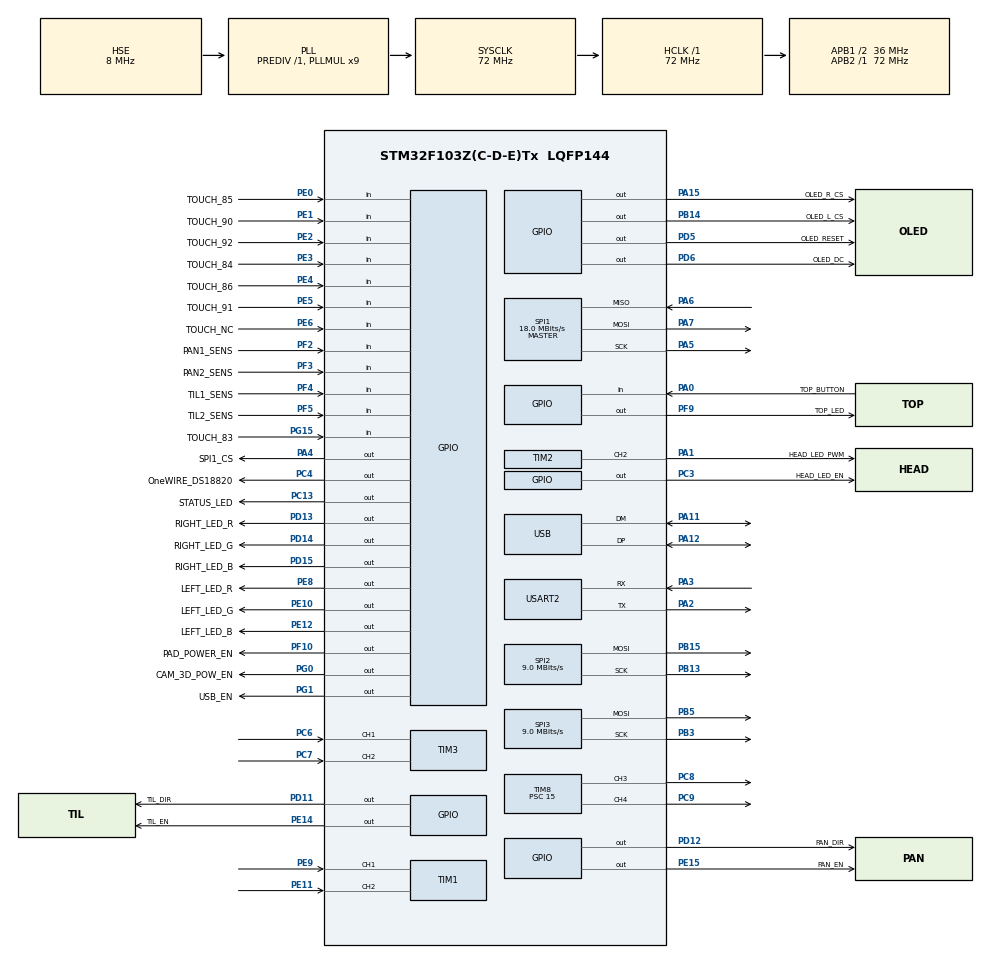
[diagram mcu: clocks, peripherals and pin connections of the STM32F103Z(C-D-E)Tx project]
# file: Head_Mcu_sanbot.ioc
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Mcu.Family=STM32F1
Mcu.Name=STM32F103Z(C-D-E)Tx
Mcu.Package=LQFP144
NVIC.PriorityGroup=NVIC_PRIORITYGROUP_4
NVIC.USB_HP_CAN1_TX_IRQn=true\:0\:0\:false\:false\:true\:true\:true\:true
NVIC.USB_LP_CAN1_RX0_IRQn=true\:0\:0\:false\:false\:true\:false\:true\:true
OSC_IN.Mode=HSE-External-Oscillator
OSC_IN.Signal=RCC_OSC_IN
OSC_OUT.Mode=HSE-External-Oscillator
OSC_OUT.Signal=RCC_OSC_OUT
PA0-WKUP.GPIO_Label=TOP_BUTTON
PA0-WKUP.GPIO_PuPd=GPIO_PULLUP
PA0-WKUP.Signal=GPIO_Input
PA1.GPIO_Label=HEAD_LED_PWM
PA1.Signal=S_TIM2_CH2
PA11.Mode=Device
PA11.Signal=USB_DM
PA12.Mode=Device
PA12.Signal=USB_DP
PA13.Mode=Serial_Wire
PA13.Signal=SYS_JTMS-SWDIO
PA14.Mode=Serial_Wire
PA14.Signal=SYS_JTCK-SWCLK
PA15.GPIO_Label=OLED_R_CS
PA15.PinState=GPIO_PIN_SET
PA15.Signal=GPIO_Output
PA2.Mode=Asynchronous
PA2.Signal=USART2_TX
PA3.Mode=Asynchronous
PA3.Signal=USART2_RX
PA4.GPIO_Label=SPI1_CS
PA4.Signal=GPIO_Output
PA5.Mode=Full_Duplex_Master
PA5.Signal=SPI1_SCK
PA6.Mode=Full_Duplex_Master
PA6.Signal=SPI1_MISO
PA7.Mode=Full_Duplex_Master
PA7.Signal=SPI1_MOSI
PB13.GPIO_Speed=GPIO_SPEED_FREQ_HIGH
PB13.Mode=TX_Only_Simplex_Unidirect_Master
PB13.Signal=SPI2_SCK
PB14.GPIO_Label=OLED_L_CS
PB14.PinState=GPIO_PIN_SET
PB14.Signal=GPIO_Output
PB15.Mode=TX_Only_Simplex_Unidirect_Master
PB15.Signal=SPI2_MOSI
PB3.Mode=TX_Only_Simplex_Unidirect_Master
PB3.Signal=SPI3_SCK
PB5.Mode=TX_Only_Simplex_Unidirect_Master
PB5.Signal=SPI3_MOSI
PC13-TAMPER-RTC.GPIO_Label=STATUS_LED
PC13-TAMPER-RTC.Signal=GPIO_Output
PC3.GPIO_Label=HEAD_LED_EN
PC3.PinState=GPIO_PIN_SET
PC3.Signal=GPIO_Output
PC4.GPIO_Label=OneWIRE_DS18820
PC4.Signal=GPIO_Output
PC6.Signal=S_TIM3_CH1
PC7.Signal=S_TIM3_CH2
PC8.Signal=S_TIM8_CH3
PC9.Signal=S_TIM8_CH4
PD11.GPIO_Label=TIL_DIR
PD11.Signal=GPIO_Output
PD12.GPIO_Label=PAN_DIR
PD12.Signal=GPIO_Output
PD13.GPIO_Label=RIGHT_LED_R
PD13.Signal=GPIO_Output
PD14.GPIO_Label=RIGHT_LED_G
PD14.Signal=GPIO_Output
PD15.GPIO_Label=RIGHT_LED_B
PD15.Signal=GPIO_Output
PD5.GPIO_Label=OLED_RESET
PD5.PinState=GPIO_PIN_SET
PD5.Signal=GPIO_Output
PD6.GPIO_Label=OLED_DC
PD6.PinState=GPIO_PIN_SET
PD6.Signal=GPIO_Output
PE0.GPIO_Label=TOUCH_85
PE0.Signal=GPIO_Input
PE1.GPIO_Label=TOUCH_90
PE1.Signal=GPIO_Input
PE10.GPIO_Label=LEFT_LED_G
PE10.Signal=GPIO_Output
PE11.Signal=S_TIM1_CH2
PE12.GPIO_Label=LEFT_LED_B
PE12.Signal=GPIO_Output
PE14.GPIO_Label=TIL_EN
PE14.Signal=GPIO_Output
PE15.GPIO_Label=PAN_EN
PE15.Signal=GPIO_Output
PE2.GPIO_Label=TOUCH_92
PE2.Signal=GPIO_Input
PE3.GPIO_Label=TOUCH_84
PE3.Signal=GPIO_Input
PE4.GPIO_Label=TOUCH_86
PE4.Signal=GPIO_Input
PE5.GPIO_Label=TOUCH_91
PE5.Signal=GPIO_Input
PE6.GPIO_Label=TOUCH_NC
PE6.Signal=GPIO_Input
PE8.GPIO_Label=LEFT_LED_R
PE8.Signal=GPIO_Output
PE9.Signal=S_TIM1_CH1
PF10.GPIO_Label=PAD_POWER_EN
PF10.Signal=GPIO_Output
PF2.GPIO_Label=PAN1_SENS
PF2.GPIO_PuPd=GPIO_PULLUP
PF2.Signal=GPIO_Input
PF3.GPIO_Label=PAN2_SENS
PF3.Signal=GPIO_Input
PF4.GPIO_Label=TIL1_SENS
PF4.Signal=GPIO_Input
PF5.GPIO_Label=TIL2_SENS
PF5.Signal=GPIO_Input
PF9.GPIO_Label=TOP_LED
PF9.Signal=GPIO_Output
PG0.GPIO_Label=CAM_3D_POW_EN
PG0.Signal=GPIO_Output
PG1.GPIO_Label=USB_EN
PG1.Signal=GPIO_Output
PG15.GPIO_Label=TOUCH_83
PG15.Signal=GPIO_Input
ProjectManager.HeapSize=0x200
ProjectManager.StackSize=0x400
ProjectManager.TargetToolchain=STM32CubeIDE
RCC.AHBFreq_Value=72000000
RCC.APB1CLKDivider=RCC_HCLK_DIV2
RCC.APB1Freq_Value=36000000
RCC.APB1TimFreq_Value=72000000
RCC.APB2Freq_Value=72000000
RCC.APB2TimFreq_Value=72000000
RCC.HCLKFreq_Value=72000000
RCC.PLLMUL=RCC_PLL_MUL9
RCC.PLLSourceVirtual=RCC_PLLSOURCE_HSE
RCC.SYSCLKFreq_VALUE=72000000
RCC.SYSCLKSource=RCC_SYSCLKSOURCE_PLLCLK
RCC.USBFreq_Value=48000000
RCC.USBPrescaler=RCC_USBCLKSOURCE_PLL_DIV1_5
SH.S_TIM1_CH1.0=TIM1_CH1,Encoder_Interface
SH.S_TIM1_CH2.0=TIM1_CH2,Encoder_Interface
SH.S_TIM2_CH2.0=TIM2_CH2,PWM Generation2 CH2
SH.S_TIM3_CH1.0=TIM3_CH1,Encoder_Interface
SH.S_TIM3_CH2.0=TIM3_CH2,Encoder_Interface
SH.S_TIM8_CH3.0=TIM8_CH3,PWM Generation3 CH3
SH.S_TIM8_CH4.0=TIM8_CH4,PWM Generation4 CH4
SPI1.BaudRatePrescaler=SPI_BAUDRATEPRESCALER_4
SPI1.CalculateBaudRate=18.0 MBits/s
SPI1.Direction=SPI_DIRECTION_2LINES
SPI1.Mode=SPI_MODE_MASTER
SPI1.VirtualType=VM_MASTER
SPI2.BaudRatePrescaler=SPI_BAUDRATEPRESCALER_4
SPI2.CLKPhase=SPI_PHASE_1EDGE
SPI2.CLKPolarity=SPI_POLARITY_LOW
SPI2.CalculateBaudRate=9.0 MBits/s
SPI2.Direction=SPI_DIRECTION_2LINES
SPI2.FirstBit=SPI_FIRSTBIT_MSB
SPI2.Mode=SPI_MODE_MASTER
SPI2.VirtualType=VM_MASTER
SPI3.BaudRatePrescaler=SPI_BAUDRATEPRESCALER_4
SPI3.CalculateBaudRate=9.0 MBits/s
SPI3.Direction=SPI_DIRECTION_2LINES
SPI3.Mode=SPI_MODE_MASTER
SPI3.VirtualType=VM_MASTER
TIM1.EncoderMode=TIM_ENCODERMODE_TI12
TIM2.AutoReloadPreload=TIM_AUTORELOAD_PRELOAD_ENABLE
TIM2.Channel-PWM\ Generation2\ CH2=TIM_CHANNEL_2
TIM2.Period=100
TIM2.Prescaler=15
TIM3.EncoderMode=TIM_ENCODERMODE_TI12
TIM8.AutoReloadPreload=TIM_AUTORELOAD_PRELOAD_ENABLE
TIM8.Channel-PWM\ Generation3\ CH3=TIM_CHANNEL_3
TIM8.Channel-PWM\ Generation4\ CH4=TIM_CHANNEL_4
TIM8.Period=100
TIM8.Prescaler=15
USART2.VirtualMode=VM_ASYNC
USB_DEVICE.CLASS_NAME_FS=CDC
USB_DEVICE.MANUFACTURER_STRING=SaraHead
USB_DEVICE.USBD_SELF_POWERED=1
USB_DEVICE.VirtualMode=Cdc
USB_DEVICE.VirtualModeFS=Cdc_FS
VP_USB_DEVICE_VS_USB_DEVICE_CDC_FS.Mode=CDC_FS
board=custom

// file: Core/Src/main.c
/* USER CODE BEGIN Header */
/**
  ******************************************************************************
  * @file           : main.c
  * @brief          : Main program body
  ******************************************************************************
  * @attention
  *
  * Copyright (c) 2024 STMicroelectronics.
  * All rights reserved.
  *
  * This software is licensed under terms that can be found in the LICENSE file
  * in the root directory of this software component.
  * If no LICENSE file comes with this software, it is provided AS-IS.
  *
  ******************************************************************************
  */
/* USER CODE END Header */
#include "main.h"
#include "usb_device.h"

/* USER CODE BEGIN Includes */
#include "usbd_cdc_if.h"
#include "string.h"
#include <stdio.h>
#include "SSD1305_eyes.h"

/* USER CODE END Includes */

SPI_HandleTypeDef hspi1;
SPI_HandleTypeDef hspi2;
SPI_HandleTypeDef hspi3;

TIM_HandleTypeDef htim1;
TIM_HandleTypeDef htim2;
TIM_HandleTypeDef htim3;
TIM_HandleTypeDef htim8;

UART_HandleTypeDef huart2;

/* USER CODE BEGIN PV */

uint8_t displayBuffer[128*8];
uint32_t p = 0;

void getdata(uint8_t * rxBuffer, uint32_t size)
{
	HAL_GPIO_TogglePin(STATUS_LED_GPIO_Port, STATUS_LED_Pin);
//	if(size > 1024+2)
//	{
//		size = 1024+2;
//	}
//	uint8_t data0 = rxBuffer[0];
//	uint8_t data1 = rxBuffer[1];
//	uint8_t data2 = rxBuffer[2];

	  if(rxBuffer[0] == 0xaa)
	  {
		  p = rxBuffer[1] * 32;
		  memcpy(&displayBuffer[p], &rxBuffer[2], size-2);
	  }
	  HAL_GPIO_TogglePin(STATUS_LED_GPIO_Port, STATUS_LED_Pin);
}

/* USER CODE END PV */

void SystemClock_Config(void);
static void MX_GPIO_Init(void);
static void MX_SPI2_Init(void);
static void MX_SPI3_Init(void);
static void MX_SPI1_Init(void);
static void MX_USART2_UART_Init(void);
static void MX_TIM1_Init(void);
static void MX_TIM2_Init(void);
static void MX_TIM3_Init(void);
static void MX_TIM8_Init(void);

/* USER CODE BEGIN 0 */

void setPanMotor(int8_t setSpeed)
{
	HAL_GPIO_WritePin(PAN_DIR_GPIO_Port, PAN_DIR_Pin, setSpeed<0); // PAN
	TIM8->CCR4 = 100 - abs(setSpeed); // PAN
}

void setTilMotor(int8_t setSpeed)
{
	HAL_GPIO_WritePin(TIL_DIR_GPIO_Port, TIL_DIR_Pin, setSpeed<0); // PAN
	TIM8->CCR3 = 100 - abs(setSpeed); // PAN
}

void read_flash(uint32_t address, uint8_t * data, uint16_t size)
{
	const uint16_t msgSize = 1+3+size;
	uint8_t txdata[msgSize];
	memset(txdata, 0, msgSize);
	txdata[0] = 0x03;
	//  uint32_t address = 0x000;
	txdata[1] = (address >> 16) & 0xFF;
	txdata[2] = (address >> 8) & 0xFF;
	txdata[3] = (address >> 0) & 0xFF;

	//  uint8_t rxdata[msgSize];
	//  memset(rxdata, 0, msgSize);
	HAL_GPIO_WritePin(SPI1_CS_GPIO_Port, SPI1_CS_Pin, 0);
	HAL_SPI_TransmitReceive(&hspi1, txdata, data, msgSize, 100);
	HAL_GPIO_WritePin(SPI1_CS_GPIO_Port, SPI1_CS_Pin, 1);
}
/* USER CODE END 0 */

int main(void)
{

  /* MCU Configuration--------------------------------------------------------*/

  /* Reset of all peripherals, Initializes the Flash interface and the Systick. */
  HAL_Init();

  /* Configure the system clock */
  SystemClock_Config();

  /* Initialize all configured peripherals */
  MX_GPIO_Init();
  MX_SPI2_Init();
  MX_SPI3_Init();
  MX_SPI1_Init();
  MX_USART2_UART_Init();
  MX_USB_DEVICE_Init();
  MX_TIM1_Init();
  MX_TIM2_Init();
  MX_TIM3_Init();
  MX_TIM8_Init();
  /* USER CODE BEGIN 2 */

  __HAL_TIM_SET_COUNTER(&htim1, 1000);
  __HAL_TIM_SET_COUNTER(&htim3, 1000);
  HAL_TIM_Encoder_Start(&htim1, TIM_CHANNEL_1 | TIM_CHANNEL_2);
  HAL_TIM_Encoder_Start(&htim3, TIM_CHANNEL_1 | TIM_CHANNEL_2);

//  HAL_TIM_Base_Start(htim12);
  TIM8->CCR3 = 100;
  TIM8->CCR4 = 100;
  HAL_TIM_PWM_Start(&htim8, TIM_CHANNEL_3);
  HAL_TIM_PWM_Start(&htim8, TIM_CHANNEL_4);
//  HAL_TIM_PWM_Start(&htim8, );

  TIM2->CCR2 = 0;
  HAL_TIM_PWM_Start(&htim2, TIM_CHANNEL_2);

  OLED_HandleTypeDef left_eye;
  left_eye.hspi = &hspi2;
  left_eye.cs = toGPIO(OLED_L_CS_GPIO_Port, OLED_L_CS_Pin);
  left_eye.dc = toGPIO(OLED_DC_GPIO_Port, OLED_DC_Pin);
  left_eye.reset = toGPIO(OLED_RESET_GPIO_Port, OLED_RESET_Pin);

  OLED_HandleTypeDef right_eye;
  right_eye.hspi = &hspi3;
  right_eye.cs = toGPIO(OLED_R_CS_GPIO_Port, OLED_R_CS_Pin);
  right_eye.dc = toGPIO(OLED_DC_GPIO_Port, OLED_DC_Pin);
  right_eye.reset = toGPIO(OLED_RESET_GPIO_Port, OLED_RESET_Pin);

  HAL_Delay(10);

  SSD1305_init(&left_eye, &right_eye);
//
//  for(uint8_t i = 0; i < 10; i++)
//  {
//	  HAL_GPIO_WritePin(OLED_L_CS_GPIO_Port, OLED_L_CS_Pin, 0);
//	  uint8_t data = i+1;
//	  HAL_SPI_Transmit(&hspi2, &data, 1, 100);
//	  HAL_GPIO_WritePin(OLED_L_CS_GPIO_Port, OLED_L_CS_Pin, 1);
//
//  }
//  uint32_t address = 0x001000 + (75 * 128 * 8);

  uint8_t toggle = 0;
  uint32_t f = 0x00;
  uint8_t eyelist[][2] = {{0x00,1}, {0x00,1}, {0x18,2}, {0x30,2}, {0x48,2},  {0x60,7},  {0x78,2}, {0x90,3}, {0x99,2}, {0xA8,2}, {0xC0,2}, {0xD8,2}, {0xf0,4}};
  uint8_t s = 2;
  uint8_t i = 0;
  uint8_t buffer[128*8+4];
  int x = 0;

  uint16_t head_til_max = 1;
  uint16_t head_pan_max = 1;

  uint16_t head_til_min = 1;
  uint16_t head_pan_min = 1;

  uint8_t brightness = 0;

//  HAL_GPIO_WritePin(TIL_EN_GPIO_Port, TIL_EN_Pin, 1);
//  HAL_GPIO_WritePin(PAN_EN_GPIO_Port, PAN_EN_Pin, 1);
//  uint8_t calibration = 0;
//
//  while(!HAL_GPIO_ReadPin(PAN2_SENS_GPIO_Port, PAN2_SENS_Pin))
//  {
//	  setPanMotor(-30);
//	  HAL_Delay(10);
//  }
//  setPanMotor(0);
//  __HAL_TIM_SET_COUNTER(&htim3, 0);
//
//  while(!HAL_GPIO_ReadPin(PAN1_SENS_GPIO_Port, PAN1_SENS_Pin))
//  {
//	  setPanMotor(30);
//  	  HAL_Delay(10);
//  }
//  setPanMotor(0);
//  head_pan_max = __HAL_TIM_GET_COUNTER(&htim3);
//
//  float angle_pan_target = 0.5;
//
//  while(!HAL_GPIO_ReadPin(TIL2_SENS_GPIO_Port, TIL2_SENS_Pin))
//  {
//	  setTilMotor(30);
//	  HAL_Delay(10);
//  }
//  setTilMotor(0);
//  __HAL_TIM_SET_COUNTER(&htim1, 0);
//
//  while(!HAL_GPIO_ReadPin(TIL1_SENS_GPIO_Port, TIL1_SENS_Pin))
//  {
//	  setTilMotor(-30);
//  	  HAL_Delay(10);
//  }
//  setTilMotor(0);
//  head_til_max = __HAL_TIM_GET_COUNTER(&htim1);
//
//  float angle_til_target = 0.5;
  /* USER CODE END 2 */

  /* Infinite loop */
  /* USER CODE BEGIN WHILE */
  uint16_t index = 0;
  while (1)
  {
    /* USER CODE END WHILE */

    /* USER CODE BEGIN 3 */

//	  SSD1305_writeDisplay(&left_eye, displayBuffer);
//	  SSD1305_writeDisplay(&right_eye, displayBuffer);
//	  volatile uint16_t head_til = __HAL_TIM_GET_COUNTER(&htim1);
//	  volatile uint16_t head_pan = __HAL_TIM_GET_COUNTER(&htim3);

//	  char str[50];
//	  sprintf(str, "%d,  %d", head_til, head_pan);
////	  uint8_t message[] = "Hello, World!";
//	  HAL_Delay(10000);
//	  for(uint32_t index = 0; index < 0x1FFFFF; index+=128)
//	  {
//		  read_flash(index, buffer, 128);
//		  CDC_Transmit_FS(buffer, 128);
//		  HAL_Delay(10);
//
//	  }
//      read_flash(index, buffer, 1);
//	  CDC_Transmit_FS(str, strlen(str));

//	  if(HAL_GPIO_ReadPin(TIL1_SENS_GPIO_Port, TIL1_SENS_Pin))
//	  {
//		  head_til_min = head_til;
//	  }
//	  if(HAL_GPIO_ReadPin(TIL2_SENS_GPIO_Port, TIL2_SENS_Pin))
//	  {
//		  head_til_max = head_til;
//	  }
//
//	  if(HAL_GPIO_ReadPin(PAN1_SENS_GPIO_Port, PAN1_SENS_Pin))
//	  {
////		  __HAL_TIM_SET_COUNTER(&htim3, 0);
//	  }
//	  if(HAL_GPIO_ReadPin(PAN2_SENS_GPIO_Port, PAN2_SENS_Pin))
//	  {
//		  head_pan_max = head_pan;
//	  }
//
//	  float angle_til = 0;
//	  if(head_til_max > 0)
//		  angle_til = head_til / head_til_max;

//	  float angle_pan = 0;
//	  if(head_pan_max > 0)
//		  angle_pan = (float)head_pan / (float)head_pan_max;
//
//
//
//
//	  float errorAngle =  angle_pan_target - angle_pan;
//
//	  setPanMotor((int8_t)(errorAngle * 100));

//	  HAL_GPIO_WritePin(TIL_EN_GPIO_Port, TIL_EN_Pin, 1);
//	  HAL_GPIO_WritePin(PAN_EN_GPIO_Port, PAN_EN_Pin, 1);
//
//	  if(!HAL_GPIO_ReadPin(TOUCH_90_GPIO_Port, TOUCH_90_Pin) ) //&& HAL_GPIO_ReadPin(TIL1_SENS_GPIO_Port, TIL1_SENS_Pin)
//	  {
//		  angle_pan_target +=0.1;
////		  setPanMotor(20);
//	  }
//	  else if(!HAL_GPIO_ReadPin(TOUCH_91_GPIO_Port, TOUCH_91_Pin)) // && HAL_GPIO_ReadPin(TIL2_SENS_GPIO_Port, TIL2_SENS_Pin)
//	  {
//		  angle_pan_target -=0.1;
////		  setPanMotor(-20);
//	  }
//	  else
//	  {
////		  setPanMotor(0);
//	  }
//	  if(!HAL_GPIO_ReadPin(TOUCH_90_GPIO_Port, TOUCH_90_Pin))
//	  {
//		  TIM8->CCR3 = 50; //TIL?
//
//		  HAL_GPIO_WritePin(TIL_DIR_GPIO_Port, TIL_DIR_Pin, 1);
//	  }
//	  else  if(!HAL_GPIO_ReadPin(TOUCH_91_GPIO_Port, TOUCH_91_Pin))
//	  {
//		  TIM8->CCR3 = 50; //TIL?
//		  TIM8->CCR4 = 50; // PAN
//		  HAL_GPIO_WritePin(PAN_DIR_GPIO_Port, PAN_DIR_Pin, 0); // PAN
//		  HAL_GPIO_WritePin(TIL_DIR_GPIO_Port, TIL_DIR_Pin, 0);
//	  }
//	  else
//	  {
//		  TIM8->CCR3 = 100;
//		  TIM8->CCR4 = 100; // PAN
//	  }

//	  if(!HAL_GPIO_ReadPin(TOP_BUTTON_GPIO_Port, TOP_BUTTON_Pin))
//	  {
//
////		  HAL_GPIO_WritePin(PAN_DIR_GPIO_Port, PAN_DIR_Pin, 1);
//
//	  }
//	  else
//	  {
//		  HAL_GPIO_WritePin(TIL_EN_GPIO_Port, TIL_EN_Pin, 0);
//		  HAL_GPIO_WritePin(PAN_EN_GPIO_Port, PAN_EN_Pin, 0);
//	  }

	  if(s == 0)
	  {
		  SSD1305_writeDisplay(&left_eye, sara_logo);
		  SSD1305_writeDisplay(&right_eye, nobleo_logo);
	  }
	  else if(s == 1)
	  {
		  SSD1305_writeDisplay(&left_eye, displayBuffer);
		  SSD1305_writeDisplay(&right_eye, displayBuffer);
	  }
	  else
	  {
		  f = eyelist[s][0]+i;

		  read_flash(0x400*f, buffer, 128*8);

		  SSD1305_writeDisplay(&left_eye, &buffer[4]);

		  read_flash(0x400*(f+8), buffer, 128*8);
		  SSD1305_writeDisplay(&right_eye, &buffer[4]);
	  }

//	  HAL_GPIO_WritePin(STATUS_LED_GPIO_Port, STATUS_LED_Pin, 0);
//	  HAL_Delay(100);
//	  HAL_GPIO_WritePin(STATUS_LED_GPIO_Port, STATUS_LED_Pin, 1);
//	  HAL_Delay(100);

	  i++;
	  if(i > (eyelist[s][1]-1))
	  {
		  i = 0;
	  }

	  if(!HAL_GPIO_ReadPin(TOUCH_85_GPIO_Port, TOUCH_85_Pin))
	  {
		  if(!toggle)
		  {
			  i = 0;
			  s++;
			  if(s > 12)
			  {
				  s=0;
			  }
		  }
		  toggle = 1;
	  }
	  else  if(!HAL_GPIO_ReadPin(TOUCH_86_GPIO_Port, TOUCH_86_Pin))
	  {
		  if(!toggle)
		  {
			  i = 0;
			  s--;
			  if(s > 10)
			  {
				  s=10;
			  }
		  }
		  toggle = 1;
	  }
	  else
	  {
		  toggle = 0;
	  }

	  if(!HAL_GPIO_ReadPin(PAN1_SENS_GPIO_Port, PAN1_SENS_Pin))
	  {
		  f++;
		  HAL_GPIO_WritePin(TOP_LED_GPIO_Port, TOP_LED_Pin, 0);
	  }
	  else
	  {
		  HAL_GPIO_WritePin(TOP_LED_GPIO_Port, TOP_LED_Pin, 1);
	  }

	  if(!HAL_GPIO_ReadPin(TOUCH_92_GPIO_Port, TOUCH_92_Pin))//top head
	  {
		  brightness++;
		  if(brightness > 70)
		  {
			  brightness = 70;
		  }
		  HAL_GPIO_WritePin(HEAD_LED_EN_GPIO_Port, HEAD_LED_EN_Pin, 0);
		  TIM2->CCR2 = 70-brightness;
	  }
	  else
	  {
		  TIM2->CCR2 = 0;
		  brightness = 0;
		  HAL_GPIO_WritePin(HEAD_LED_EN_GPIO_Port, HEAD_LED_EN_Pin, 1);
	  }

//	  TOUCH_83_GPIO_Port
	  HAL_GPIO_WritePin(LEFT_LED_R_GPIO_Port, LEFT_LED_R_Pin, HAL_GPIO_ReadPin(TOUCH_90_GPIO_Port, TOUCH_90_Pin));//left back LB
	  HAL_GPIO_WritePin(LEFT_LED_G_GPIO_Port, LEFT_LED_G_Pin, HAL_GPIO_ReadPin(TOUCH_83_GPIO_Port, TOUCH_83_Pin));//left_chin LC
	  HAL_GPIO_WritePin(LEFT_LED_B_GPIO_Port, LEFT_LED_B_Pin, HAL_GPIO_ReadPin(TOUCH_85_GPIO_Port, TOUCH_85_Pin));// Left forehead LF

	  HAL_GPIO_WritePin(RIGHT_LED_R_GPIO_Port, RIGHT_LED_R_Pin, HAL_GPIO_ReadPin(TOUCH_91_GPIO_Port, TOUCH_91_Pin));//right back RB
	  HAL_GPIO_WritePin(RIGHT_LED_G_GPIO_Port, RIGHT_LED_G_Pin, HAL_GPIO_ReadPin(TOUCH_84_GPIO_Port, TOUCH_84_Pin));//Right_chin RC
	  HAL_GPIO_WritePin(RIGHT_LED_B_GPIO_Port, RIGHT_LED_B_Pin, HAL_GPIO_ReadPin(TOUCH_86_GPIO_Port, TOUCH_86_Pin));//Right forehead RF
//	  switch(s){
//	  case 0:
//		  HAL_GPIO_WritePin(LEFT_LED_R_GPIO_Port, LEFT_LED_R_Pin, 0);
//		  HAL_GPIO_WritePin(LEFT_LED_G_GPIO_Port, LEFT_LED_G_Pin, 1);
//		  HAL_GPIO_WritePin(LEFT_LED_B_GPIO_Port, LEFT_LED_B_Pin, 1);
//		  break;
//	  case 1:
//		  HAL_GPIO_WritePin(LEFT_LED_R_GPIO_Port, LEFT_LED_R_Pin, 1);
//		  HAL_GPIO_WritePin(LEFT_LED_G_GPIO_Port, LEFT_LED_G_Pin, 0);
//		  HAL_GPIO_WritePin(LEFT_LED_B_GPIO_Port, LEFT_LED_B_Pin, 1);
//		  break;
//	  case 2:
//		  HAL_GPIO_WritePin(LEFT_LED_R_GPIO_Port, LEFT_LED_R_Pin, 1);
//		  HAL_GPIO_WritePin(LEFT_LED_G_GPIO_Port, LEFT_LED_G_Pin, 1);
//		  HAL_GPIO_WritePin(LEFT_LED_B_GPIO_Port, LEFT_LED_B_Pin, 0);
//		  break;
//	  case 3:
//		  HAL_GPIO_WritePin(RIGHT_LED_R_GPIO_Port, RIGHT_LED_R_Pin, 1);
//		  HAL_GPIO_WritePin(RIGHT_LED_G_GPIO_Port, RIGHT_LED_G_Pin, 1);
//		  HAL_GPIO_WritePin(RIGHT_LED_B_GPIO_Port, RIGHT_LED_B_Pin, 1);
//		  break;
//	  default:
//		  HAL_GPIO_WritePin(LEFT_LED_R_GPIO_Port, LEFT_LED_R_Pin, 1);
//		  HAL_GPIO_WritePin(LEFT_LED_G_GPIO_Port, LEFT_LED_G_Pin, 1);
//		  HAL_GPIO_WritePin(LEFT_LED_B_GPIO_Port, LEFT_LED_B_Pin, 1);
//
//		  break;
//	  }
//
//	  switch(s){
//	  case 4:
//		  HAL_GPIO_WritePin(RIGHT_LED_R_GPIO_Port, RIGHT_LED_R_Pin, 0);
//		  HAL_GPIO_WritePin(RIGHT_LED_G_GPIO_Port, RIGHT_LED_G_Pin, 1);
//		  HAL_GPIO_WritePin(RIGHT_LED_B_GPIO_Port, RIGHT_LED_B_Pin, 1);
//		  break;
//	  case 5:
//		  HAL_GPIO_WritePin(RIGHT_LED_R_GPIO_Port, RIGHT_LED_R_Pin, 1);
//		  HAL_GPIO_WritePin(RIGHT_LED_G_GPIO_Port, RIGHT_LED_G_Pin, 0);
//		  HAL_GPIO_WritePin(RIGHT_LED_B_GPIO_Port, RIGHT_LED_B_Pin, 1);
//		  break;
//	  default:
//
//		  HAL_GPIO_WritePin(RIGHT_LED_R_GPIO_Port, RIGHT_LED_R_Pin, 1);
//		  HAL_GPIO_WritePin(RIGHT_LED_G_GPIO_Port, RIGHT_LED_G_Pin, 1);
//		  HAL_GPIO_WritePin(RIGHT_LED_B_GPIO_Port, RIGHT_LED_B_Pin, 0);
//		  break;
//	  }
//
//	  HAL_GPIO_WritePin(SPI2_SCK_GPIO_Port, SPI2_SCK_Pin, 1);
////	  HAL_Delay(2000);
//	  HAL_GPIO_WritePin(SPI2_SCK_GPIO_Port, SPI2_SCK_Pin, 0);
////	  HAL_Delay(2000);//ok
//
//	  HAL_GPIO_WritePin(SPI3_MOSI_GPIO_Port, SPI3_MOSI_Pin, 1);
////	  HAL_Delay(2000);
//	  HAL_GPIO_WritePin(SPI3_MOSI_GPIO_Port, SPI3_MOSI_Pin, 0);
////	  HAL_Delay(2000);//ok
//
//	  HAL_GPIO_WritePin(SPI3_SCK_GPIO_Port, SPI3_SCK_Pin, 1);
////	  HAL_Delay(2000);
//	  HAL_GPIO_WritePin(SPI3_SCK_GPIO_Port, SPI3_SCK_Pin, 0);
////	  HAL_Delay(2000);//ok
//
//	  HAL_GPIO_WritePin(OLED_DC_GPIO_Port, OLED_DC_Pin, 1);
////	  HAL_Delay(2000);
//	  HAL_GPIO_WritePin(OLED_DC_GPIO_Port, OLED_DC_Pin, 0);
////	  HAL_Delay(2000);//ok
//
//	  HAL_GPIO_WritePin(OLED_L_CS_GPIO_Port, OLED_L_CS_Pin, 1);
////	  HAL_Delay(2000);
//	  HAL_GPIO_WritePin(OLED_L_CS_GPIO_Port, OLED_L_CS_Pin, 0);
////	  HAL_Delay(2000);//oke
//
//	  HAL_GPIO_WritePin(OLED_R_CS_GPIO_Port, OLED_R_CS_Pin, 1);
////	  HAL_Delay(2000);
//	  HAL_GPIO_WritePin(OLED_R_CS_GPIO_Port, OLED_R_CS_Pin, 0);
////	  HAL_Delay(2000);//oke
//
//	  HAL_GPIO_WritePin(OLED_RESET_GPIO_Port, OLED_RESET_Pin, 1);
////	  HAL_Delay(2000);
//	  HAL_GPIO_WritePin(OLED_RESET_GPIO_Port, OLED_RESET_Pin, 0);
//	  HAL_Delay(2000);//oke
  }
  /* USER CODE END 3 */
}

void SystemClock_Config(void)
{
  RCC_OscInitTypeDef RCC_OscInitStruct = {0};
  RCC_ClkInitTypeDef RCC_ClkInitStruct = {0};
  RCC_PeriphCLKInitTypeDef PeriphClkInit = {0};

  /** Initializes the RCC Oscillators according to the specified parameters
  * in the RCC_OscInitTypeDef structure.
  */
  RCC_OscInitStruct.OscillatorType = RCC_OSCILLATORTYPE_HSE;
  RCC_OscInitStruct.HSEState = RCC_HSE_ON;
  RCC_OscInitStruct.HSEPredivValue = RCC_HSE_PREDIV_DIV1;
  RCC_OscInitStruct.HSIState = RCC_HSI_ON;
  RCC_OscInitStruct.PLL.PLLState = RCC_PLL_ON;
  RCC_OscInitStruct.PLL.PLLSource = RCC_PLLSOURCE_HSE;
  RCC_OscInitStruct.PLL.PLLMUL = RCC_PLL_MUL9;
  if (HAL_RCC_OscConfig(&RCC_OscInitStruct) != HAL_OK)
  {
    Error_Handler();
  }

  /** Initializes the CPU, AHB and APB buses clocks
  */
  RCC_ClkInitStruct.ClockType = RCC_CLOCKTYPE_HCLK|RCC_CLOCKTYPE_SYSCLK
                              |RCC_CLOCKTYPE_PCLK1|RCC_CLOCKTYPE_PCLK2;
  RCC_ClkInitStruct.SYSCLKSource = RCC_SYSCLKSOURCE_PLLCLK;
  RCC_ClkInitStruct.AHBCLKDivider = RCC_SYSCLK_DIV1;
  RCC_ClkInitStruct.APB1CLKDivider = RCC_HCLK_DIV2;
  RCC_ClkInitStruct.APB2CLKDivider = RCC_HCLK_DIV1;

  if (HAL_RCC_ClockConfig(&RCC_ClkInitStruct, FLASH_LATENCY_2) != HAL_OK)
  {
    Error_Handler();
  }
  PeriphClkInit.PeriphClockSelection = RCC_PERIPHCLK_USB;
  PeriphClkInit.UsbClockSelection = RCC_USBCLKSOURCE_PLL_DIV1_5;
  if (HAL_RCCEx_PeriphCLKConfig(&PeriphClkInit) != HAL_OK)
  {
    Error_Handler();
  }
}

static void MX_SPI1_Init(void)
{

  /* SPI1 parameter configuration*/
  hspi1.Instance = SPI1;
  hspi1.Init.Mode = SPI_MODE_MASTER;
  hspi1.Init.Direction = SPI_DIRECTION_2LINES;
  hspi1.Init.DataSize = SPI_DATASIZE_8BIT;
  hspi1.Init.CLKPolarity = SPI_POLARITY_LOW;
  hspi1.Init.CLKPhase = SPI_PHASE_1EDGE;
  hspi1.Init.NSS = SPI_NSS_SOFT;
  hspi1.Init.BaudRatePrescaler = SPI_BAUDRATEPRESCALER_4;
  hspi1.Init.FirstBit = SPI_FIRSTBIT_MSB;
  hspi1.Init.TIMode = SPI_TIMODE_DISABLE;
  hspi1.Init.CRCCalculation = SPI_CRCCALCULATION_DISABLE;
  hspi1.Init.CRCPolynomial = 10;
  if (HAL_SPI_Init(&hspi1) != HAL_OK)
  {
    Error_Handler();
  }

}

static void MX_SPI2_Init(void)
{

  /* SPI2 parameter configuration*/
  hspi2.Instance = SPI2;
  hspi2.Init.Mode = SPI_MODE_MASTER;
  hspi2.Init.Direction = SPI_DIRECTION_2LINES;
  hspi2.Init.DataSize = SPI_DATASIZE_8BIT;
  hspi2.Init.CLKPolarity = SPI_POLARITY_LOW;
  hspi2.Init.CLKPhase = SPI_PHASE_1EDGE;
  hspi2.Init.NSS = SPI_NSS_SOFT;
  hspi2.Init.BaudRatePrescaler = SPI_BAUDRATEPRESCALER_4;
  hspi2.Init.FirstBit = SPI_FIRSTBIT_MSB;
  hspi2.Init.TIMode = SPI_TIMODE_DISABLE;
  hspi2.Init.CRCCalculation = SPI_CRCCALCULATION_DISABLE;
  hspi2.Init.CRCPolynomial = 10;
  if (HAL_SPI_Init(&hspi2) != HAL_OK)
  {
    Error_Handler();
  }

}

static void MX_SPI3_Init(void)
{

  /* SPI3 parameter configuration*/
  hspi3.Instance = SPI3;
  hspi3.Init.Mode = SPI_MODE_MASTER;
  hspi3.Init.Direction = SPI_DIRECTION_2LINES;
  hspi3.Init.DataSize = SPI_DATASIZE_8BIT;
  hspi3.Init.CLKPolarity = SPI_POLARITY_LOW;
  hspi3.Init.CLKPhase = SPI_PHASE_1EDGE;
  hspi3.Init.NSS = SPI_NSS_SOFT;
  hspi3.Init.BaudRatePrescaler = SPI_BAUDRATEPRESCALER_4;
  hspi3.Init.FirstBit = SPI_FIRSTBIT_MSB;
  hspi3.Init.TIMode = SPI_TIMODE_DISABLE;
  hspi3.Init.CRCCalculation = SPI_CRCCALCULATION_DISABLE;
  hspi3.Init.CRCPolynomial = 10;
  if (HAL_SPI_Init(&hspi3) != HAL_OK)
  {
    Error_Handler();
  }

}

static void MX_TIM1_Init(void)
{

  TIM_Encoder_InitTypeDef sConfig = {0};
  TIM_MasterConfigTypeDef sMasterConfig = {0};

  htim1.Instance = TIM1;
  htim1.Init.Prescaler = 0;
  htim1.Init.CounterMode = TIM_COUNTERMODE_UP;
  htim1.Init.Period = 65535;
  htim1.Init.ClockDivision = TIM_CLOCKDIVISION_DIV1;
  htim1.Init.RepetitionCounter = 0;
  htim1.Init.AutoReloadPreload = TIM_AUTORELOAD_PRELOAD_DISABLE;
  sConfig.EncoderMode = TIM_ENCODERMODE_TI12;
  sConfig.IC1Polarity = TIM_ICPOLARITY_RISING;
  sConfig.IC1Selection = TIM_ICSELECTION_DIRECTTI;
  sConfig.IC1Prescaler = TIM_ICPSC_DIV1;
  sConfig.IC1Filter = 0;
  sConfig.IC2Polarity = TIM_ICPOLARITY_RISING;
  sConfig.IC2Selection = TIM_ICSELECTION_DIRECTTI;
  sConfig.IC2Prescaler = TIM_ICPSC_DIV1;
  sConfig.IC2Filter = 0;
  if (HAL_TIM_Encoder_Init(&htim1, &sConfig) != HAL_OK)
  {
    Error_Handler();
  }
  sMasterConfig.MasterOutputTrigger = TIM_TRGO_RESET;
  sMasterConfig.MasterSlaveMode = TIM_MASTERSLAVEMODE_DISABLE;
  if (HAL_TIMEx_MasterConfigSynchronization(&htim1, &sMasterConfig) != HAL_OK)
  {
    Error_Handler();
  }

}

static void MX_TIM2_Init(void)
{

  TIM_MasterConfigTypeDef sMasterConfig = {0};
  TIM_OC_InitTypeDef sConfigOC = {0};

  htim2.Instance = TIM2;
  htim2.Init.Prescaler = 15;
  htim2.Init.CounterMode = TIM_COUNTERMODE_UP;
  htim2.Init.Period = 100;
  htim2.Init.ClockDivision = TIM_CLOCKDIVISION_DIV1;
  htim2.Init.AutoReloadPreload = TIM_AUTORELOAD_PRELOAD_ENABLE;
  if (HAL_TIM_PWM_Init(&htim2) != HAL_OK)
  {
    Error_Handler();
  }
  sMasterConfig.MasterOutputTrigger = TIM_TRGO_RESET;
  sMasterConfig.MasterSlaveMode = TIM_MASTERSLAVEMODE_DISABLE;
  if (HAL_TIMEx_MasterConfigSynchronization(&htim2, &sMasterConfig) != HAL_OK)
  {
    Error_Handler();
  }
  sConfigOC.OCMode = TIM_OCMODE_PWM1;
  sConfigOC.Pulse = 0;
  sConfigOC.OCPolarity = TIM_OCPOLARITY_HIGH;
  sConfigOC.OCFastMode = TIM_OCFAST_DISABLE;
  if (HAL_TIM_PWM_ConfigChannel(&htim2, &sConfigOC, TIM_CHANNEL_2) != HAL_OK)
  {
    Error_Handler();
  }
  HAL_TIM_MspPostInit(&htim2);

}

static void MX_TIM3_Init(void)
{

  TIM_Encoder_InitTypeDef sConfig = {0};
  TIM_MasterConfigTypeDef sMasterConfig = {0};

  htim3.Instance = TIM3;
  htim3.Init.Prescaler = 0;
  htim3.Init.CounterMode = TIM_COUNTERMODE_UP;
  htim3.Init.Period = 65535;
  htim3.Init.ClockDivision = TIM_CLOCKDIVISION_DIV1;
  htim3.Init.AutoReloadPreload = TIM_AUTORELOAD_PRELOAD_DISABLE;
  sConfig.EncoderMode = TIM_ENCODERMODE_TI12;
  sConfig.IC1Polarity = TIM_ICPOLARITY_RISING;
  sConfig.IC1Selection = TIM_ICSELECTION_DIRECTTI;
  sConfig.IC1Prescaler = TIM_ICPSC_DIV1;
  sConfig.IC1Filter = 0;
  sConfig.IC2Polarity = TIM_ICPOLARITY_RISING;
  sConfig.IC2Selection = TIM_ICSELECTION_DIRECTTI;
  sConfig.IC2Prescaler = TIM_ICPSC_DIV1;
  sConfig.IC2Filter = 0;
  if (HAL_TIM_Encoder_Init(&htim3, &sConfig) != HAL_OK)
  {
    Error_Handler();
  }
  sMasterConfig.MasterOutputTrigger = TIM_TRGO_RESET;
  sMasterConfig.MasterSlaveMode = TIM_MASTERSLAVEMODE_DISABLE;
  if (HAL_TIMEx_MasterConfigSynchronization(&htim3, &sMasterConfig) != HAL_OK)
  {
    Error_Handler();
  }

}

static void MX_TIM8_Init(void)
{

  TIM_MasterConfigTypeDef sMasterConfig = {0};
  TIM_OC_InitTypeDef sConfigOC = {0};
  TIM_BreakDeadTimeConfigTypeDef sBreakDeadTimeConfig = {0};

  htim8.Instance = TIM8;
  htim8.Init.Prescaler = 15;
  htim8.Init.CounterMode = TIM_COUNTERMODE_UP;
  htim8.Init.Period = 100;
  htim8.Init.ClockDivision = TIM_CLOCKDIVISION_DIV1;
  htim8.Init.RepetitionCounter = 0;
  htim8.Init.AutoReloadPreload = TIM_AUTORELOAD_PRELOAD_ENABLE;
  if (HAL_TIM_PWM_Init(&htim8) != HAL_OK)
  {
    Error_Handler();
  }
  sMasterConfig.MasterOutputTrigger = TIM_TRGO_RESET;
  sMasterConfig.MasterSlaveMode = TIM_MASTERSLAVEMODE_DISABLE;
  if (HAL_TIMEx_MasterConfigSynchronization(&htim8, &sMasterConfig) != HAL_OK)
  {
    Error_Handler();
  }
  sConfigOC.OCMode = TIM_OCMODE_PWM1;
  sConfigOC.Pulse = 0;
  sConfigOC.OCPolarity = TIM_OCPOLARITY_HIGH;
  sConfigOC.OCNPolarity = TIM_OCNPOLARITY_HIGH;
  sConfigOC.OCFastMode = TIM_OCFAST_DISABLE;
  sConfigOC.OCIdleState = TIM_OCIDLESTATE_RESET;
  sConfigOC.OCNIdleState = TIM_OCNIDLESTATE_RESET;
  if (HAL_TIM_PWM_ConfigChannel(&htim8, &sConfigOC, TIM_CHANNEL_3) != HAL_OK)
  {
    Error_Handler();
  }
  if (HAL_TIM_PWM_ConfigChannel(&htim8, &sConfigOC, TIM_CHANNEL_4) != HAL_OK)
  {
    Error_Handler();
  }
  sBreakDeadTimeConfig.OffStateRunMode = TIM_OSSR_DISABLE;
  sBreakDeadTimeConfig.OffStateIDLEMode = TIM_OSSI_DISABLE;
  sBreakDeadTimeConfig.LockLevel = TIM_LOCKLEVEL_OFF;
  sBreakDeadTimeConfig.DeadTime = 0;
  sBreakDeadTimeConfig.BreakState = TIM_BREAK_DISABLE;
  sBreakDeadTimeConfig.BreakPolarity = TIM_BREAKPOLARITY_HIGH;
  sBreakDeadTimeConfig.AutomaticOutput = TIM_AUTOMATICOUTPUT_DISABLE;
  if (HAL_TIMEx_ConfigBreakDeadTime(&htim8, &sBreakDeadTimeConfig) != HAL_OK)
  {
    Error_Handler();
  }
  HAL_TIM_MspPostInit(&htim8);

}

static void MX_USART2_UART_Init(void)
{

  huart2.Instance = USART2;
  huart2.Init.BaudRate = 115200;
  huart2.Init.WordLength = UART_WORDLENGTH_8B;
  huart2.Init.StopBits = UART_STOPBITS_1;
  huart2.Init.Parity = UART_PARITY_NONE;
  huart2.Init.Mode = UART_MODE_TX_RX;
  huart2.Init.HwFlowCtl = UART_HWCONTROL_NONE;
  huart2.Init.OverSampling = UART_OVERSAMPLING_16;
  if (HAL_UART_Init(&huart2) != HAL_OK)
  {
    Error_Handler();
  }

}

static void MX_GPIO_Init(void)
{
  GPIO_InitTypeDef GPIO_InitStruct = {0};

  /* GPIO Ports Clock Enable */
  __HAL_RCC_GPIOE_CLK_ENABLE();
  __HAL_RCC_GPIOC_CLK_ENABLE();
  __HAL_RCC_GPIOF_CLK_ENABLE();
  __HAL_RCC_GPIOA_CLK_ENABLE();
  __HAL_RCC_GPIOG_CLK_ENABLE();
  __HAL_RCC_GPIOB_CLK_ENABLE();
  __HAL_RCC_GPIOD_CLK_ENABLE();

  /*Configure GPIO pin Output Level */
  HAL_GPIO_WritePin(GPIOC, STATUS_LED_Pin|OneWIRE_DS18820_Pin, GPIO_PIN_RESET);

  /*Configure GPIO pin Output Level */
  HAL_GPIO_WritePin(GPIOF, TOP_LED_Pin|PAD_POWER_EN_Pin, GPIO_PIN_RESET);

  /*Configure GPIO pin Output Level */
  HAL_GPIO_WritePin(HEAD_LED_EN_GPIO_Port, HEAD_LED_EN_Pin, GPIO_PIN_SET);

  /*Configure GPIO pin Output Level */
  HAL_GPIO_WritePin(SPI1_CS_GPIO_Port, SPI1_CS_Pin, GPIO_PIN_RESET);

  /*Configure GPIO pin Output Level */
  HAL_GPIO_WritePin(GPIOG, CAM_3D_POW_EN_Pin|USB_EN_Pin, GPIO_PIN_RESET);

  /*Configure GPIO pin Output Level */
  HAL_GPIO_WritePin(GPIOE, LEFT_LED_R_Pin|LEFT_LED_G_Pin|LEFT_LED_B_Pin|TIL_EN_Pin
                          |PAN_EN_Pin, GPIO_PIN_RESET);

  /*Configure GPIO pin Output Level */
  HAL_GPIO_WritePin(OLED_L_CS_GPIO_Port, OLED_L_CS_Pin, GPIO_PIN_SET);

  /*Configure GPIO pin Output Level */
  HAL_GPIO_WritePin(GPIOD, TIL_DIR_Pin|PAN_DIR_Pin|RIGHT_LED_R_Pin|RIGHT_LED_G_Pin
                          |RIGHT_LED_B_Pin, GPIO_PIN_RESET);

  /*Configure GPIO pin Output Level */
  HAL_GPIO_WritePin(OLED_R_CS_GPIO_Port, OLED_R_CS_Pin, GPIO_PIN_SET);

  /*Configure GPIO pin Output Level */
  HAL_GPIO_WritePin(GPIOD, OLED_RESET_Pin|OLED_DC_Pin, GPIO_PIN_SET);

  /*Configure GPIO pins : TOUCH_92_Pin TOUCH_84_Pin TOUCH_86_Pin TOUCH_91_Pin
                           TOUCH_NC_Pin TOUCH_85_Pin TOUCH_90_Pin */
  GPIO_InitStruct.Pin = TOUCH_92_Pin|TOUCH_84_Pin|TOUCH_86_Pin|TOUCH_91_Pin
                          |TOUCH_NC_Pin|TOUCH_85_Pin|TOUCH_90_Pin;
  GPIO_InitStruct.Mode = GPIO_MODE_INPUT;
  GPIO_InitStruct.Pull = GPIO_NOPULL;
  HAL_GPIO_Init(GPIOE, &GPIO_InitStruct);

  /*Configure GPIO pins : STATUS_LED_Pin HEAD_LED_EN_Pin OneWIRE_DS18820_Pin */
  GPIO_InitStruct.Pin = STATUS_LED_Pin|HEAD_LED_EN_Pin|OneWIRE_DS18820_Pin;
  GPIO_InitStruct.Mode = GPIO_MODE_OUTPUT_PP;
  GPIO_InitStruct.Pull = GPIO_NOPULL;
  GPIO_InitStruct.Speed = GPIO_SPEED_FREQ_LOW;
  HAL_GPIO_Init(GPIOC, &GPIO_InitStruct);

  /*Configure GPIO pin : PAN1_SENS_Pin */
  GPIO_InitStruct.Pin = PAN1_SENS_Pin;
  GPIO_InitStruct.Mode = GPIO_MODE_INPUT;
  GPIO_InitStruct.Pull = GPIO_PULLUP;
  HAL_GPIO_Init(PAN1_SENS_GPIO_Port, &GPIO_InitStruct);

  /*Configure GPIO pins : PAN2_SENS_Pin TIL1_SENS_Pin TIL2_SENS_Pin */
  GPIO_InitStruct.Pin = PAN2_SENS_Pin|TIL1_SENS_Pin|TIL2_SENS_Pin;
  GPIO_InitStruct.Mode = GPIO_MODE_INPUT;
  GPIO_InitStruct.Pull = GPIO_NOPULL;
  HAL_GPIO_Init(GPIOF, &GPIO_InitStruct);

  /*Configure GPIO pins : TOP_LED_Pin PAD_POWER_EN_Pin */
  GPIO_InitStruct.Pin = TOP_LED_Pin|PAD_POWER_EN_Pin;
  GPIO_InitStruct.Mode = GPIO_MODE_OUTPUT_PP;
  GPIO_InitStruct.Pull = GPIO_NOPULL;
  GPIO_InitStruct.Speed = GPIO_SPEED_FREQ_LOW;
  HAL_GPIO_Init(GPIOF, &GPIO_InitStruct);

  /*Configure GPIO pin : TOP_BUTTON_Pin */
  GPIO_InitStruct.Pin = TOP_BUTTON_Pin;
  GPIO_InitStruct.Mode = GPIO_MODE_INPUT;
  GPIO_InitStruct.Pull = GPIO_PULLUP;
  HAL_GPIO_Init(TOP_BUTTON_GPIO_Port, &GPIO_InitStruct);

  /*Configure GPIO pins : SPI1_CS_Pin OLED_R_CS_Pin */
  GPIO_InitStruct.Pin = SPI1_CS_Pin|OLED_R_CS_Pin;
  GPIO_InitStruct.Mode = GPIO_MODE_OUTPUT_PP;
  GPIO_InitStruct.Pull = GPIO_NOPULL;
  GPIO_InitStruct.Speed = GPIO_SPEED_FREQ_LOW;
  HAL_GPIO_Init(GPIOA, &GPIO_InitStruct);

  /*Configure GPIO pins : CAM_3D_POW_EN_Pin USB_EN_Pin */
  GPIO_InitStruct.Pin = CAM_3D_POW_EN_Pin|USB_EN_Pin;
  GPIO_InitStruct.Mode = GPIO_MODE_OUTPUT_PP;
  GPIO_InitStruct.Pull = GPIO_NOPULL;
  GPIO_InitStruct.Speed = GPIO_SPEED_FREQ_LOW;
  HAL_GPIO_Init(GPIOG, &GPIO_InitStruct);

  /*Configure GPIO pins : LEFT_LED_R_Pin LEFT_LED_G_Pin LEFT_LED_B_Pin TIL_EN_Pin
                           PAN_EN_Pin */
  GPIO_InitStruct.Pin = LEFT_LED_R_Pin|LEFT_LED_G_Pin|LEFT_LED_B_Pin|TIL_EN_Pin
                          |PAN_EN_Pin;
  GPIO_InitStruct.Mode = GPIO_MODE_OUTPUT_PP;
  GPIO_InitStruct.Pull = GPIO_NOPULL;
  GPIO_InitStruct.Speed = GPIO_SPEED_FREQ_LOW;
  HAL_GPIO_Init(GPIOE, &GPIO_InitStruct);

  /*Configure GPIO pin : OLED_L_CS_Pin */
  GPIO_InitStruct.Pin = OLED_L_CS_Pin;
  GPIO_InitStruct.Mode = GPIO_MODE_OUTPUT_PP;
  GPIO_InitStruct.Pull = GPIO_NOPULL;
  GPIO_InitStruct.Speed = GPIO_SPEED_FREQ_LOW;
  HAL_GPIO_Init(OLED_L_CS_GPIO_Port, &GPIO_InitStruct);

  /*Configure GPIO pins : TIL_DIR_Pin PAN_DIR_Pin RIGHT_LED_R_Pin RIGHT_LED_G_Pin
                           RIGHT_LED_B_Pin OLED_RESET_Pin OLED_DC_Pin */
  GPIO_InitStruct.Pin = TIL_DIR_Pin|PAN_DIR_Pin|RIGHT_LED_R_Pin|RIGHT_LED_G_Pin
                          |RIGHT_LED_B_Pin|OLED_RESET_Pin|OLED_DC_Pin;
  GPIO_InitStruct.Mode = GPIO_MODE_OUTPUT_PP;
  GPIO_InitStruct.Pull = GPIO_NOPULL;
  GPIO_InitStruct.Speed = GPIO_SPEED_FREQ_LOW;
  HAL_GPIO_Init(GPIOD, &GPIO_InitStruct);

  /*Configure GPIO pin : TOUCH_83_Pin */
  GPIO_InitStruct.Pin = TOUCH_83_Pin;
  GPIO_InitStruct.Mode = GPIO_MODE_INPUT;
  GPIO_InitStruct.Pull = GPIO_NOPULL;
  HAL_GPIO_Init(TOUCH_83_GPIO_Port, &GPIO_InitStruct);

}

void Error_Handler(void)
{
  __disable_irq();
  while (1)
  {
  }
}
